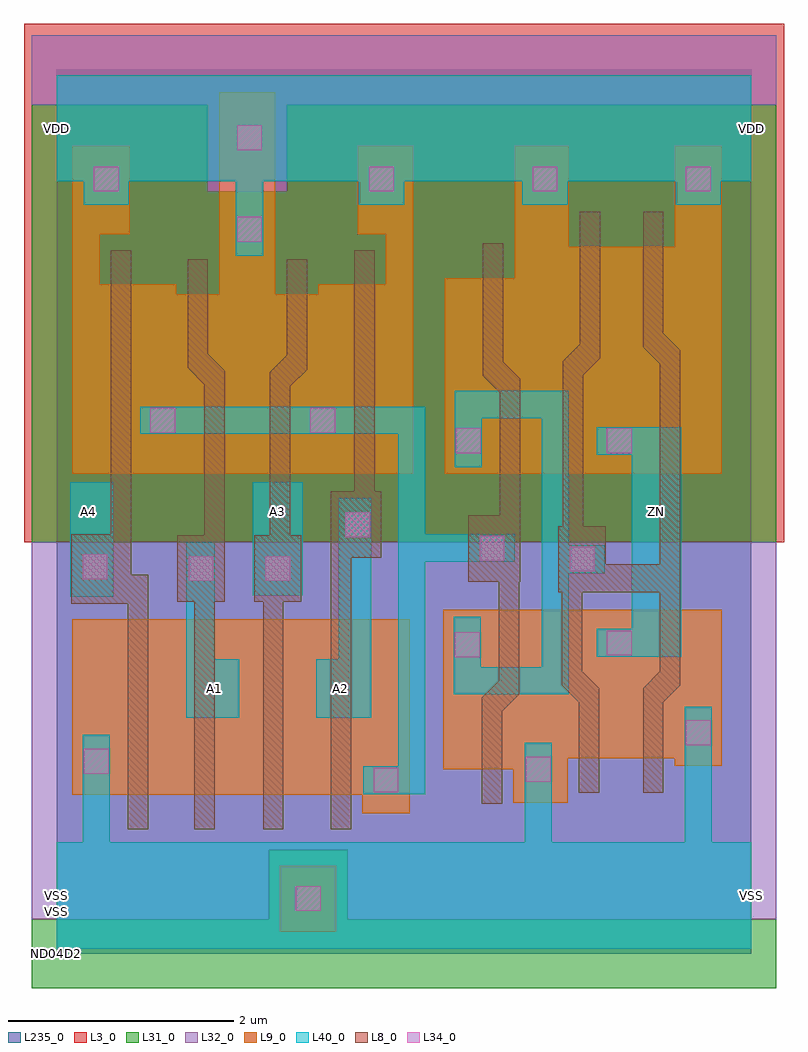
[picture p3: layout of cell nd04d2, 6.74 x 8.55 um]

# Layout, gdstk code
import gdstk
lib = gdstk.Library(unit=1e-6, precision=1e-09)
def R(c, l, rs):  # rectangles x0, y0, x1, y1
    for r in rs: c.add(gdstk.rectangle(r[:2], r[2:], *l))
def P(c, l, *ps):  # polygons
    for p in ps: c.add(gdstk.Polygon(p, *l))
L3_0 = (3, 0)
L8_0 = (8, 0)
L9_0 = (9, 0)
L31_0 = (31, 0)
L32_0 = (32, 0)
L34_0 = (34, 0)
L40_0 = (40, 0)
L235_0 = (235, 0)

nd04d2 = lib.new_cell('nd04d2')
R(nd04d2, L3_0, [(-0.29,3.65,6.45,8.245)])
P(nd04d2, L8_0, [(4.81,2.355),(4.66,2.505),(4.66,3.205),(5.35,3.205),(5.35,2.505),(5.2,2.355),(5.2,1.425),(5.38,1.425),(5.38,2.23),(5.53,2.38),(5.53,5.35),(5.38,5.5),(5.38,6.58),(5.2,6.58),(5.2,5.38),(5.35,5.23),(5.35,3.455),(4.87,3.455),(4.87,3.79),(4.67,3.79),(4.67,5.13),(4.82,5.28),(4.82,6.58),(4.64,6.58),(4.64,5.405),(4.49,5.255),(4.49,3.79),(4.45,3.79),(4.45,3.205),(4.48,3.205),(4.48,2.38),(4.63,2.23),(4.63,1.425),(4.81,1.425)],
  [(3.95,2.15),(4.1,2.3),(4.1,3.3),(4.11,3.3),(4.11,5.1),(3.96,5.25),(3.96,6.3),(3.78,6.3),(3.78,5.125),(3.93,4.975),(3.93,3.89),(3.65,3.89),(3.65,3.3),(3.92,3.3),(3.92,2.42),(3.77,2.27),(3.77,1.33),(3.95,1.33)],
  [(2.61,3.51),(2.88,3.51),(2.88,4.1),(2.82,4.1),(2.82,6.24),(2.64,6.24),(2.64,4.1),(2.43,4.1),(2.43,1.105),(2.61,1.105)],
  [(0.81,3.36),(0.66,3.36),(0.66,6.24),(0.48,6.24),(0.48,3.72),(0.13,3.72),(0.13,3.105),(0.63,3.105),(0.63,1.105),(0.81,1.105)],
  [(2.01,3.12),(2.17,3.12),(2.17,3.71),(2.07,3.71),(2.07,5.03),(2.22,5.18),(2.22,6.16),(2.04,6.16),(2.04,5.305),(1.89,5.155),(1.89,3.71),(1.75,3.71),(1.75,3.12),(1.83,3.12),(1.83,1.105),(2.01,1.105)],
  [(1.4,3.12),(1.49,3.12),(1.49,5.17),(1.34,5.32),(1.34,6.16),(1.16,6.16),(1.16,5.195),(1.31,5.045),(1.31,3.71),(1.07,3.71),(1.07,3.12),(1.22,3.12),(1.22,1.105),(1.4,1.105)])
R(nd04d2, L9_0, [(1.98,0.195,2.48,0.78)])
P(nd04d2, L9_0, [(3.13,2.965),(3.13,1.245),(2.71,1.245),(2.71,1.41),(0.14,1.41),(0.14,2.965)],
  [(5.9,3.05),(5.9,1.665),(5.48,1.665),(5.48,1.735),(4.53,1.735),(4.53,1.34),(4.05,1.34),(4.05,1.635),(3.43,1.635),(3.43,3.05)],
  [(5.9,7.165),(5.9,4.255),(3.44,4.255),(3.44,5.99),(4.06,5.99),(4.06,7.165),(4.54,7.165),(4.54,6.27),(5.48,6.27),(5.48,7.165)],
  [(1.94,7.64),(1.94,5.85),(2.32,5.85),(2.32,5.935),(2.92,5.935),(2.92,6.38),(2.67,6.38),(2.67,7.165),(3.16,7.165),(3.16,4.255),(0.14,4.255),(0.14,7.165),(0.65,7.165),(0.65,6.38),(0.38,6.38),(0.38,5.935),(1.06,5.935),(1.06,5.85),(1.44,5.85),(1.44,7.64)])
P(nd04d2, L31_0, [(2.58,0.92),(2.58,0.305),(6.38,0.305),(6.38,-0.305),(-0.22,-0.305),(-0.22,0.305),(1.88,0.305),(1.88,0.92)],
  [(6.38,7.53),(6.38,3.65),(-0.22,3.65),(-0.22,7.53),(1.34,7.53),(1.34,6.76),(2.04,6.76),(2.04,7.53)])
P(nd04d2, L32_0, [(6.38,3.65),(6.38,0.305),(2.58,0.305),(2.58,0.92),(1.88,0.92),(1.88,0.305),(-0.22,0.305),(-0.22,3.65)],
  [(6.38,8.145),(6.38,7.53),(2.04,7.53),(2.04,6.76),(1.34,6.76),(1.34,7.53),(-0.22,7.53),(-0.22,8.145)])
R(nd04d2, L34_0, [(2.12,0.38,2.34,0.6), (2.81,1.43,3.03,1.65), (4.16,1.525,4.38,1.745), (0.24,1.595,0.46,1.815), (5.58,1.85,5.8,2.07), (3.53,2.63,3.75,2.85), (4.88,2.645,5.1,2.865), (1.17,3.305,1.39,3.525), (1.85,3.305,2.07,3.525), (0.23,3.32,0.45,3.54), (4.55,3.39,4.77,3.61), (3.75,3.485,3.97,3.705), (2.56,3.695,2.78,3.915), (3.54,4.44,3.76,4.66), (4.88,4.44,5.1,4.66), (0.83,4.62,1.05,4.84), (2.25,4.62,2.47,4.84), (1.6,6.315,1.82,6.535), (0.33,6.76,0.55,6.98), (2.77,6.76,2.99,6.98), (4.22,6.76,4.44,6.98), (5.58,6.76,5.8,6.98), (1.6,7.125,1.82,7.345)])
R(nd04d2, L40_0, [(0.12,3.165,0.5,4.18), (1.74,3.18,2.18,4.18)])
P(nd04d2, L40_0, [(0,6.85),(0.24,6.85),(0.24,6.64),(0.64,6.64),(0.64,6.85),(1.59,6.85),(1.59,6.19),(1.83,6.19),(1.83,6.85),(2.68,6.85),(2.68,6.64),(3.08,6.64),(3.08,6.85),(4.13,6.85),(4.13,6.64),(4.53,6.64),(4.53,6.85),(5.49,6.85),(5.49,6.64),(5.89,6.64),(5.89,6.85),(6.16,6.85),(6.16,7.79),(0,7.79)],
  [(4.79,4.425),(5.1,4.425),(5.1,2.88),(4.79,2.88),(4.79,2.635),(5.54,2.635),(5.54,4.67),(4.79,4.67)],
  [(2.79,4.04),(2.5,4.04),(2.5,2.61),(2.3,2.61),(2.3,2.09),(2.79,2.09)],
  [(0.74,4.85),(0.74,4.61),(3.03,4.61),(3.03,1.66),(2.72,1.66),(2.72,1.415),(3.27,1.415),(3.27,3.475),(4.06,3.475),(4.06,3.72),(3.27,3.72),(3.27,4.85)],
  [(3.53,4.99),(3.53,4.315),(3.77,4.315),(3.77,4.75),(4.3,4.75),(4.3,2.54),(3.76,2.54),(3.76,2.99),(3.52,2.99),(3.52,2.3),(4.54,2.3),(4.54,3.375),(4.86,3.375),(4.86,3.62),(4.54,3.62),(4.54,4.99)],
  [(1.15,3.65),(1.15,2.09),(1.62,2.09),(1.62,2.61),(1.4,2.61),(1.4,3.65)],
  [(5.57,2.19),(5.57,0.99),(4.39,0.99),(4.39,1.87),(4.15,1.87),(4.15,0.99),(0.47,0.99),(0.47,1.94),(0.23,1.94),(0.23,0.99),(0,0.99),(0,0.045),(6.16,0.045),(6.16,0.99),(5.81,0.99),(5.81,2.19)])
R(nd04d2, L235_0, [(0,0,6.16,7.84)])
nd04d2.add(gdstk.Label('VSS', (0,0.37), layer=40, texttype=7))
nd04d2.add(gdstk.Label('VSS', (0,0.37), layer=40, texttype=7))
nd04d2.add(gdstk.Label('VSS', (0,0.37), layer=40, texttype=7))
nd04d2.add(gdstk.Label('VSS', (0,0.37), layer=40, texttype=7))
nd04d2.add(gdstk.Label('VSS', (0,0.37), layer=40, texttype=7))
nd04d2.add(gdstk.Label('Copyright (c) 2003, 2004 Synopsys, Inc.', (0,-2.24), layer=96, texttype=0))
nd04d2.add(gdstk.Label('DT. 10-Sep-2002 16:43:13', (0,-1.68), layer=96, texttype=0))
nd04d2.add(gdstk.Label('Rev. 1', (0,-1.12), layer=96, texttype=0))
nd04d2.add(gdstk.Label('4-INPUT NAND, 2X DRIVE', (0,-0.56), layer=96, texttype=0))
nd04d2.add(gdstk.Label('ND04D2', (0,0), layer=96, texttype=0))
nd04d2.add(gdstk.Label('ZN', (5.32,3.92), layer=40, texttype=7))
nd04d2.add(gdstk.Label('A1', (1.4,2.35), layer=40, texttype=7))
nd04d2.add(gdstk.Label('A2', (2.52,2.35), layer=40, texttype=7))
nd04d2.add(gdstk.Label('A3', (1.96,3.92), layer=40, texttype=7))
nd04d2.add(gdstk.Label('A4', (0.28,3.92), layer=40, texttype=7))
nd04d2.add(gdstk.Label('VDD', (6.16,7.32), layer=40, texttype=7))
nd04d2.add(gdstk.Label('VSS', (6.16,0.515), layer=40, texttype=7))
nd04d2.add(gdstk.Label('VDD', (0,7.32), layer=40, texttype=7))
nd04d2.add(gdstk.Label('VSS', (0,0.515), layer=40, texttype=7))

lib.write_gds('nd04d2.gds')
